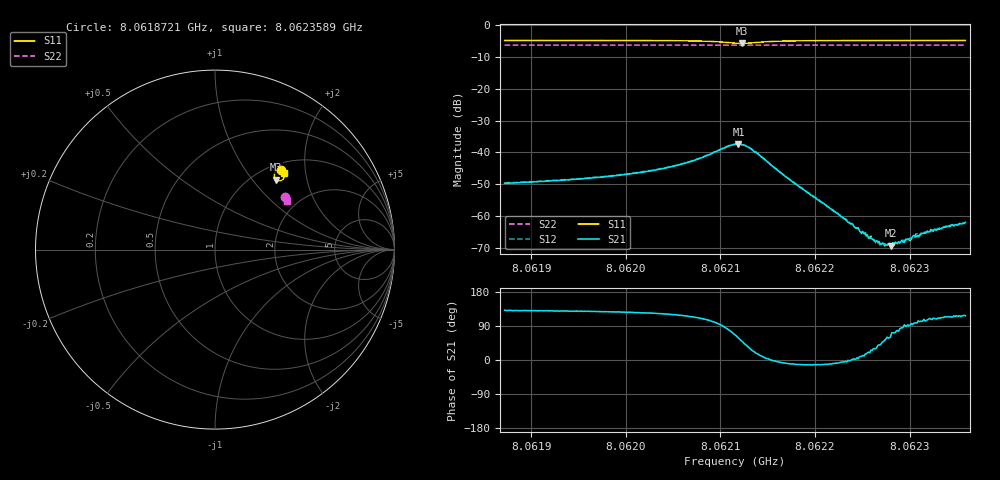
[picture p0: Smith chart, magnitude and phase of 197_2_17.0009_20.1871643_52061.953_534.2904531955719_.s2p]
#  HZ  S  RI  R  50.00
! Rohde & Schwarz Vector Network Analyzer
! Rohde-Schwarz,ZNB20-2Port,1311601062101988,3.16
! Created: UTC 3/20/2024, 11:00:54 PM
! freq[Hz]  re:S11  im:S11  re:S21  im:S21  re:S12  im:S12  re:S22  im:S22
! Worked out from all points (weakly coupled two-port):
!   401 points, 8.0618721 GHz to 8.0623589 GHz, reference 50 ohm
!   highest |S21| = -37.34 dB at 8.0621192 GHz (marker M1); lowest = -69.3 dB at 8.0622798 GHz (marker M2)
!   lowest |S11| = -5.7 dB at 8.0621228 GHz (marker M3), VSWR 3.14, Z = 62.1 + j66.2 ohm
!   |S11| at or under -10 dB: nowhere
!   |S22| runs from -6.3 to -6.3 dB; largest |S21 - S12| = 0.001
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8.06187208e9  0.3682 0.4426  -0.00216 0.00246  -0.002 0.00263  0.3873 0.2943
8.06195363e9  0.3745 0.4368  -0.00242 0.00299  -0.00225 0.00317  0.3902 0.2903
8.06203518e9  0.3824 0.4263  -0.00292 0.00458  -0.00268 0.00479  0.3928 0.2859
8.06207047e9  0.3861 0.4153  -0.00296 0.00669  -0.0026 0.00698  0.3941 0.2837
8.06211551e9  0.3545 0.3831  0.00531 0.0122  0.00617 0.012  0.3936 0.2807
8.06211916e9  0.3462 0.3855  0.00724 0.0115  0.00785 0.011  0.3934 0.2809
8.06212281e9  0.3388 0.3904  0.00851 0.01  0.00943 0.00954  0.3932 0.2811
8.06213742e9  0.3311 0.4197  0.00968 0.00322  0.00973 0.00262  0.3938 0.2818
8.06216906e9  0.3547 0.4392  0.00411 -0.000604  0.00409 -0.000877  0.3961 0.2807
8.06219706e9  0.3657 0.4385  0.00203 -0.000473  0.00204 -0.000593  0.3975 0.2793
8.06223114e9  0.373 0.4359  0.0009 -7.82e-05  0.000908 -9.61e-05  0.3988 0.2774
8.06224939e9  0.3756 0.4346  0.000548 9.7e-05  0.000523 8.4e-05  0.3996 0.2764
8.0622567e9  0.3765 0.4341  0.000422 0.000159  0.000428 0.00013  0.3999 0.2761
8.06226643e9  0.3778 0.4333  0.000306 0.000246  0.000332 0.000187  0.4001 0.2756
8.0622713e9  0.3783 0.433  0.000255 0.00028  0.000254 0.000258  0.4003 0.2753
8.06227861e9  0.379 0.4326  0.000186 0.000303  0.000189 0.00032  0.4006 0.275
8.06227982e9  0.3792 0.4325  0.000168 0.000298  0.000193 0.000309  0.4006 0.2748
8.06228469e9  0.3796 0.432  0.000116 0.00037  0.000141 0.000336  0.4008 0.2748
8.06230051e9  0.3813 0.4311  -1.56e-05 0.000447  1.8e-05 0.000409  0.4012 0.2739
8.0623066e9  0.3818 0.4307  -6.58e-05 0.000461  -2.81e-05 0.000521  0.4014 0.2736
8.06232486e9  0.3833 0.4296  -0.0002 0.000537  -0.000131 0.000577  0.4021 0.2727
8.06235894e9  0.3859 0.4273  -0.000357 0.000713  -0.000335 0.000691  0.4031 0.2708
